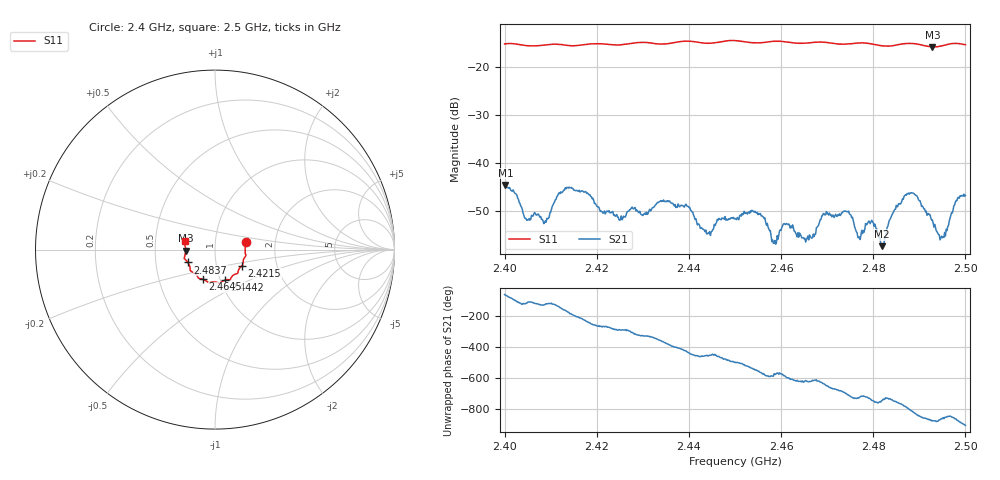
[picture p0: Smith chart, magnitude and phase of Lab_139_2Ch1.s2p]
# Hz S RI R 50
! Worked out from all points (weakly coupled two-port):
!   601 points, 2.4 GHz to 2.5 GHz, reference 50 ohm
!   highest |S21| = -44.63 dB at 2.4002 GHz (marker M1); lowest = -57.4 dB at 2.4818 GHz (marker M2)
!   lowest |S11| = -15.7 dB at 2.4928 GHz (marker M3), VSWR 1.39, Z = 35.9 - j0.389 ohm
!   |S11| at or under -10 dB: start of sweep to end of sweep
!   S12 and S22 are empty: the file has one direction only
!   S11 on the Smith chart (normalised r, x): 2.4 GHz: 1.41, +0.12; 2.4215 GHz: 1.33, -0.25; 2.4442 GHz: 1.05, -0.37; 2.4645 GHz: 0.83, -0.29; 2.4837 GHz: 0.73, -0.11; 2.5 GHz: 0.71, +0.07
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2.4e9  0.1713 0.0404  0.00303 -0.00491  0 0  0 0
2.400167e9  0.172 0.0401  0.00277 -0.00518  0 0  0 0
2.4085e9  0.1692 -0.0232  -0.00134 -0.00189  0 0  0 0
2.413167e9  0.1654 -0.0434  -0.00518 -0.00184  0 0  0 0
2.416667e9  0.1566 -0.0697  -0.00426 0.0028  0 0  0 0
2.4215e9  0.1514 -0.0897  -0.000283 0.00298  0 0  0 0
2.433333e9  0.1083 -0.1383  0.00378 0.000676  0 0  0 0
2.439667e9  0.0838 -0.1684  0.00121 -0.0033  0 0  0 0
2.444167e9  0.0566 -0.1694  -0.000175 -0.00183  0 0  0 0
2.45e9  0.0251 -0.1892  -0.00194 -0.00176  0 0  0 0
2.4645e9  -0.0659 -0.1659  -0.000202 0.00163  0 0  0 0
2.466667e9  -0.0826 -0.162  -0.000365 0.00159  0 0  0 0
2.474167e9  -0.1161 -0.1313  0.00288 0.00115  0 0  0 0
2.476833e9  -0.1342 -0.12  0.00163 -0.000216  0 0  0 0
2.4795e9  -0.1383 -0.1095  0.00231 -0.000683  0 0  0 0
2.481833e9  -0.1414 -0.0915  0.00123 -0.00054  0 0  0 0
2.483333e9  -0.1491 -0.0752  0.00228 -0.000541  0 0  0 0
2.483667e9  -0.1511 -0.0717  0.00252 -0.000526  0 0  0 0
2.488167e9  -0.1716 -0.0475  0.000195 -0.00483  0 0  0 0
2.492833e9  -0.1635 -0.00526  -0.00226 -0.00113  0 0  0 0
2.495167e9  -0.1674 0.0225  -0.00118 -0.0012  0 0  0 0
2.5e9  -0.1651 0.0505  -0.00455 0.000322  0 0  0 0
